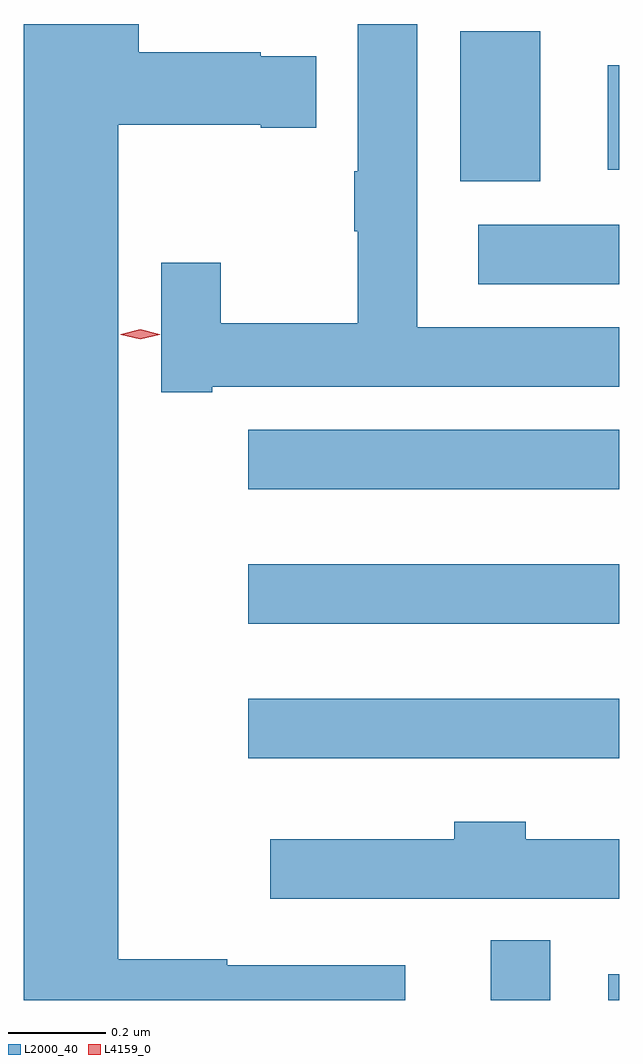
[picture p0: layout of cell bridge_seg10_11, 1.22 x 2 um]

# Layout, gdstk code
import gdstk
lib = gdstk.Library(unit=1e-6, precision=1e-09)
def R(c, l, rs):  # rectangles x0, y0, x1, y1
    for r in rs: c.add(gdstk.rectangle(r[:2], r[2:], *l))
def A(c, l, x, y, w, h, nx, ny, dx, dy):  # array of equal rectangles
    R(c, l, [(x+i*dx, y+j*dy, x+i*dx+w, y+j*dy+h) for i in range(nx) for j in range(ny)])
def P(c, l, *ps):  # polygons
    for p in ps: c.add(gdstk.Polygon(p, *l))
L2000_40 = (2000, 40)
L4159_0 = (4159, 0)

bridge_seg10_11 = lib.new_cell('bridge_seg10_11')
A(bridge_seg10_11, L2000_40, 1059.798, 1275.164, 0.76, 0.122, 1, 3, 0, 0.276)
R(bridge_seg10_11, L2000_40, [(1060.295,1274.669,1060.417,1274.791), (1060.536,1274.669,1060.558,1274.722), (1060.269,1276.136,1060.558,1276.258), (1060.232,1276.347,1060.396,1276.654), (1060.535,1276.37,1060.558,1276.584)])
P(bridge_seg10_11, L2000_40, [(1060.12,1274.74),(1059.755,1274.74),(1059.755,1274.753),(1059.532,1274.753),(1059.532,1276.463),(1059.824,1276.463),(1059.824,1276.456),(1059.937,1276.456),(1059.937,1276.603),(1059.824,1276.603),(1059.824,1276.611),(1059.574,1276.611),(1059.574,1276.669),(1059.338,1276.669),(1059.338,1274.669),(1060.12,1274.669)],
  [(1059.724,1275.926),(1060.558,1275.926),(1060.558,1276.048),(1060.144,1276.048),(1060.144,1276.669),(1060.022,1276.669),(1060.022,1276.367),(1060.015,1276.367),(1060.015,1276.244),(1060.022,1276.244),(1060.022,1276.056),(1059.742,1276.056),(1059.742,1276.18),(1059.62,1276.18),(1059.62,1275.914),(1059.724,1275.914)],
  [(1060.558,1274.998),(1060.367,1274.998),(1060.367,1275.034),(1060.22,1275.034),(1060.22,1274.998),(1059.843,1274.998),(1059.843,1274.876),(1060.558,1274.876)])
P(bridge_seg10_11, L4159_0, [(1059.577,1276.023),(1059.537,1276.032),(1059.537,1276.033),(1059.537,1276.033),(1059.577,1276.043),(1059.617,1276.033),(1059.617,1276.033),(1059.617,1276.032)])

lib.write_gds('bridge_seg10_11.gds')
